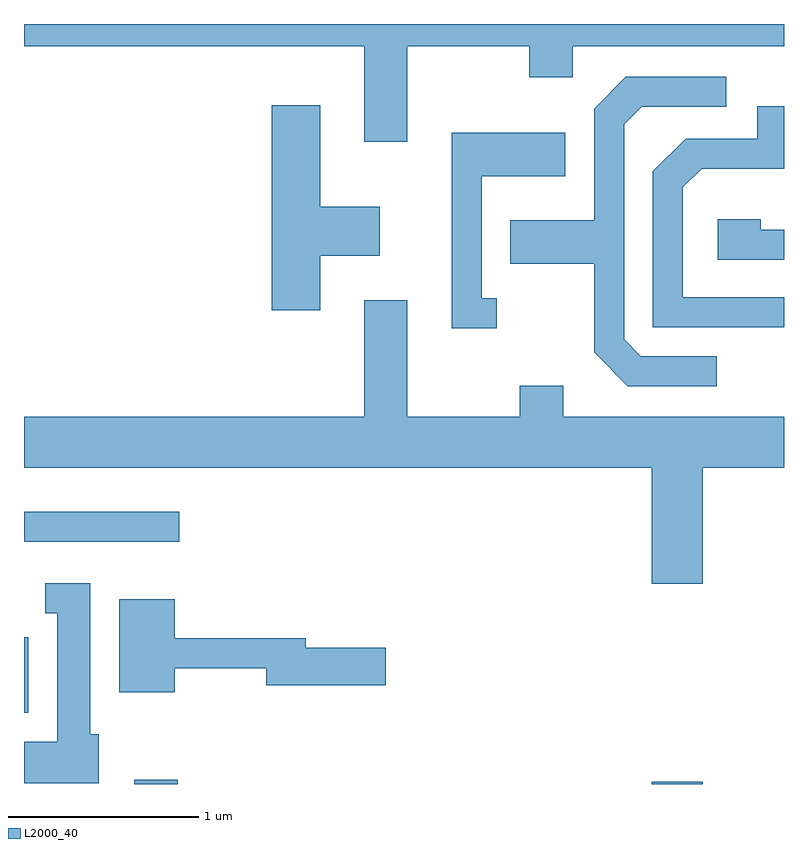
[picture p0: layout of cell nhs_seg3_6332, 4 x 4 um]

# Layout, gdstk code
import gdstk
lib = gdstk.Library(unit=1e-6, precision=1e-09)
def R(c, l, rs):  # rectangles x0, y0, x1, y1
    for r in rs: c.add(gdstk.rectangle(r[:2], r[2:], *l))
def P(c, l, *ps):  # polygons
    for p in ps: c.add(gdstk.Polygon(p, *l))
L2000_40 = (2000, 40)

nhs_seg3_6332 = lib.new_cell('nhs_seg3_6332')
R(nhs_seg3_6332, L2000_40, [(372.191,1139.892,372.419,1139.914), (374.916,1139.892,375.184,1139.904), (371.611,1140.266,371.634,1140.664), (371.611,1141.166,372.428,1141.324)])
P(nhs_seg3_6332, L2000_40, [(373.629,1143.776),(374.271,1143.776),(374.271,1143.611),(374.499,1143.611),(374.499,1143.776),(375.611,1143.776),(375.611,1143.892),(371.611,1143.892),(371.611,1143.776),(373.401,1143.776),(373.401,1143.271),(373.629,1143.271)],
  [(375.258,1142.144),(374.857,1142.144),(374.769,1142.232),(374.769,1143.364),(374.862,1143.456),(375.308,1143.456),(375.308,1143.614),(374.779,1143.614),(374.611,1143.447),(374.611,1142.859),(374.171,1142.859),(374.171,1142.631),(374.611,1142.631),(374.611,1142.164),(374.789,1141.986),(375.258,1141.986)],
  [(373.169,1142.671),(373.484,1142.671),(373.484,1142.929),(373.169,1142.929),(373.169,1143.464),(372.916,1143.464),(372.916,1142.386),(373.169,1142.386)],
  [(375.611,1142.454),(375.079,1142.454),(375.079,1143.034),(375.177,1143.131),(375.611,1143.131),(375.611,1143.459),(375.471,1143.459),(375.471,1143.289),(375.094,1143.289),(374.921,1143.117),(374.921,1142.296),(375.611,1142.296)],
  [(374.098,1142.449),(374.019,1142.449),(374.019,1143.091),(374.459,1143.091),(374.459,1143.319),(373.861,1143.319),(373.861,1142.291),(374.098,1142.291)],
  [(375.611,1142.809),(375.489,1142.809),(375.489,1142.864),(375.261,1142.864),(375.261,1142.651),(375.611,1142.651)],
  [(375.184,1141.556),(375.611,1141.556),(375.611,1141.824),(374.449,1141.824),(374.449,1141.989),(374.221,1141.989),(374.221,1141.824),(373.629,1141.824),(373.629,1142.439),(373.401,1142.439),(373.401,1141.824),(371.611,1141.824),(371.611,1141.556),(374.916,1141.556),(374.916,1140.946),(375.184,1140.946)],
  [(372.004,1140.154),(371.959,1140.154),(371.959,1140.949),(371.723,1140.949),(371.723,1140.791),(371.786,1140.791),(371.786,1140.114),(371.611,1140.114),(371.611,1139.896),(372.004,1139.896)],
  [(372.404,1140.501),(372.886,1140.501),(372.886,1140.411),(373.514,1140.411),(373.514,1140.609),(373.094,1140.609),(373.094,1140.659),(372.404,1140.659),(372.404,1140.864),(372.111,1140.864),(372.111,1140.376),(372.404,1140.376)])

lib.write_gds('nhs_seg3_6332.gds')
